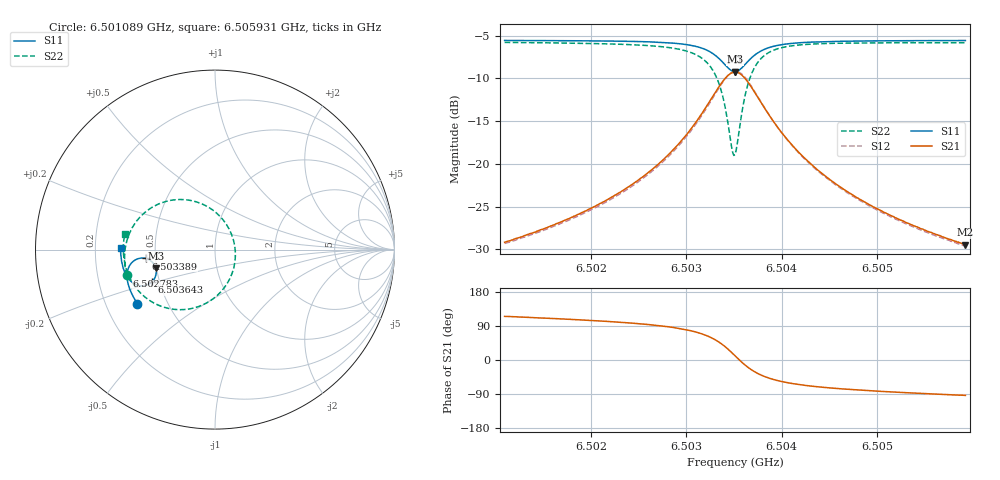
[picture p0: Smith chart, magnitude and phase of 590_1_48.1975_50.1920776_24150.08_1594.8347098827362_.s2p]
#  HZ  S  RI  R  50.00
! Rohde & Schwarz Vector Network Analyzer
! Rohde-Schwarz,ZNB20-2Port,1311601062101988,3.16
! Created: UTC 3/20/2024, 12:02:33 PM
! freq[Hz]  re:S11  im:S11  re:S21  im:S21  re:S12  im:S12  re:S22  im:S22
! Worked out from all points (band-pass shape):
!   401 points, 6.501089 GHz to 6.505931 GHz, reference 50 ohm
!   highest |S21| = -9.27 dB at 6.50351 GHz (marker M1); lowest = -29.5 dB at 6.505931 GHz (marker M2)
!   |S21| within 3 dB of the highest: 6.503268 GHz to 6.503752 GHz (484.3 kHz wide, 0.00745 % of centre)
!   lowest |S11| = -9.2 dB at 6.50351 GHz (marker M3), VSWR 2.06, Z = 24.7 - j5.72 ohm
!   |S11| at or under -10 dB: nowhere
!   |S22| runs from -19.0 to -5.8 dB; largest |S21 - S12| = 0.012
!   S11 on the Smith chart (normalised r, x): 6.501089 GHz: 0.34, -0.28; 6.502783 GHz: 0.33, -0.13; 6.503389 GHz: 0.44, -0.05; 6.503643 GHz: 0.45, -0.19; 6.505931 GHz: 0.31, +0.01
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6.5010887e9  -0.4327 -0.3008  -0.0147 0.0315  -0.013 0.0316  -0.493 -0.1433
6.5018998e9  -0.4666 -0.2396  -0.014 0.0499  -0.0115 0.0493  -0.504 -0.055
6.5023235e9  -0.4811 -0.2014  -0.0109 0.0686  -0.00799 0.0674  -0.5002 0.00659
6.5027108e9  -0.4898 -0.1575  -0.00106 0.1003  0.00248 0.0979  -0.4783 0.0866
6.5027835e9  -0.4902 -0.1476  0.00295 0.1094  0.00673 0.1064  -0.4696 0.1062
6.5029893e9  -0.4862 -0.1142  0.0246 0.1435  0.0283 0.1391  -0.4243 0.1739
6.5031466e9  -0.4712 -0.0818  0.0646 0.1799  0.0674 0.1742  -0.3467 0.2378
6.5032919e9  -0.4326 -0.0521  0.1475 0.2091  0.1482 0.2028  -0.1957 0.2791
6.5033403e9  -0.4109 -0.0472  0.1907 0.2075  0.1908 0.202  -0.12 0.2703
6.5033888e9  -0.3854 -0.0493  0.2403 0.1921  0.2405 0.1877  -0.0351 0.2354
6.5034735e9  -0.3417 -0.0793  0.3198 0.1163  0.3225 0.1123  0.0917 0.0861
6.5035098e9  -0.3306 -0.1018  0.3376 0.0668  0.3416 0.0615  0.113 -0.00688
6.503534e9  -0.3276 -0.1183  0.3411 0.0314  0.3454 0.0248  0.1106 -0.0714
6.5035703e9  -0.3298 -0.1428  0.3337 -0.0196  0.3375 -0.0284  0.0827 -0.162
6.503643e9  -0.3524 -0.1807  0.2859 -0.097  0.2862 -0.1088  -0.0294 -0.2871
6.5037398e9  -0.3941 -0.2007  0.2065 -0.1409  0.2017 -0.1515  -0.1916 -0.3348
6.5038972e9  -0.444 -0.1931  0.117 -0.14  0.1098 -0.1459  -0.354 -0.29
6.5040667e9  -0.4735 -0.1719  0.0684 -0.1189  0.0618 -0.1216  -0.433 -0.2218
6.5043209e9  -0.496 -0.1405  0.0349 -0.0917  0.03 -0.0924  -0.4813 -0.1433
6.5046962e9  -0.5122 -0.1004  0.0151 -0.0668  0.0117 -0.0664  -0.5047 -0.0652
6.505132e9  -0.5212 -0.0595  0.00532 -0.05  0.00303 -0.0494  -0.5107 -0.00162
6.5059309e9  -0.5264 0.00879  -0.00205 -0.0336  -0.00334 -0.0328  -0.5037 0.0852
